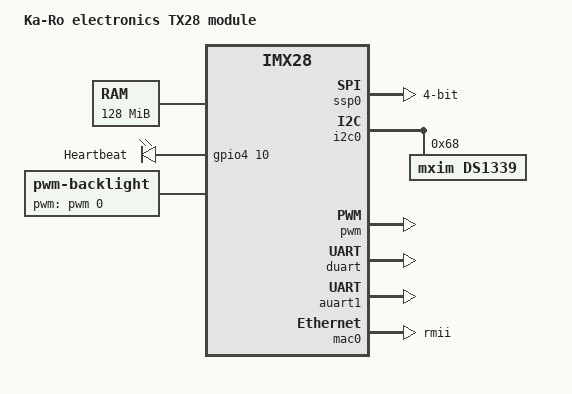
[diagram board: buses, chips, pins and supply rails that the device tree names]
/dts-v1/;
/include/ "imx28.dtsi"

/ {
	model = "Ka-Ro electronics TX28 module";
	compatible = "karo,tx28", "fsl,imx28";

	memory {
		reg = <0x40000000 0x08000000>;
	};

	apb@80000000 {
		apbh@80000000 {
			ssp0: ssp@80010000 {
				compatible = "fsl,imx28-mmc";
				pinctrl-names = "default";
				pinctrl-0 = <&mmc0_4bit_pins_a
					     &mmc0_cd_cfg
					     &mmc0_sck_cfg>;
				bus-width = <4>;
				status = "okay";
			};

			pinctrl@80018000 {
				pinctrl-names = "default";
				pinctrl-0 = <&hog_pins_a>;

				hog_pins_a: hog@0 {
					reg = <0>;
					fsl,pinmux-ids = <
						0x40a3 /* MX28_PAD_ENET0_RXD3__GPIO_4_10 */
					>;
					fsl,drive-strength = <0>;
					fsl,voltage = <1>;
					fsl,pull-up = <0>;
				};

				mac0_pins_gpio: mac0-gpio-mode@0 {
					reg = <0>;
					fsl,pinmux-ids = <
						0x4003 /* MX28_PAD_ENET0_MDC__GPIO_4_0 */
						0x4013 /* MX28_PAD_ENET0_MDIO__GPIO_4_1 */
						0x4023 /* MX28_PAD_ENET0_RX_EN__GPIO_4_2 */
						0x4033 /* MX28_PAD_ENET0_RXD0__GPIO_4_3 */
						0x4043 /* MX28_PAD_ENET0_RXD1__GPIO_4_4 */
						0x4063 /* MX28_PAD_ENET0_TX_EN__GPIO_4_6 */
						0x4073 /* MX28_PAD_ENET0_TXD0__GPIO_4_7 */
						0x4083 /* MX28_PAD_ENET0_TXD1__GPIO_4_8 */
						0x4103 /* MX28_PAD_ENET_CLK__GPIO_4_16 */
					>;
					fsl,drive-strength = <0>;
					fsl,voltage = <1>;
					fsl,pull-up = <0>;
				};
			};
		};

		apbx@80040000 {
			i2c0: i2c@80058000 {
				pinctrl-names = "default";
				pinctrl-0 = <&i2c0_pins_a>;
				status = "okay";

				ds1339: rtc@68 {
					compatible = "mxim,ds1339";
					reg = <0x68>;
				};
			};

			pwm: pwm@80064000 {
				pinctrl-names = "default";
				pinctrl-0 = <&pwm0_pins_a>;
				status = "okay";
			};

			duart: serial@80074000 {
				pinctrl-names = "default";
				pinctrl-0 = <&duart_4pins_a>;
				status = "okay";
			};

			auart1: serial@8006c000 {
				pinctrl-names = "default";
				pinctrl-0 = <&auart1_pins_a>;
				status = "okay";
			};
		};
	};

	ahb@80080000 {
		mac0: ethernet@800f0000 {
			phy-mode = "rmii";
			pinctrl-names = "default", "gpio_mode";
			pinctrl-0 = <&mac0_pins_a>;
			pinctrl-1 = <&mac0_pins_gpio>;
			status = "okay";
		};
	};

	leds {
		compatible = "gpio-leds";

		user {
			label = "Heartbeat";
			gpios = <&gpio4 10 0>;
			linux,default-trigger = "heartbeat";
		};
	};

	backlight {
		compatible = "pwm-backlight";
		pwms = <&pwm 0 5000000>;
		brightness-levels = <0 4 8 16 32 64 128 255>;
		default-brightness-level = <6>;
	};
};
